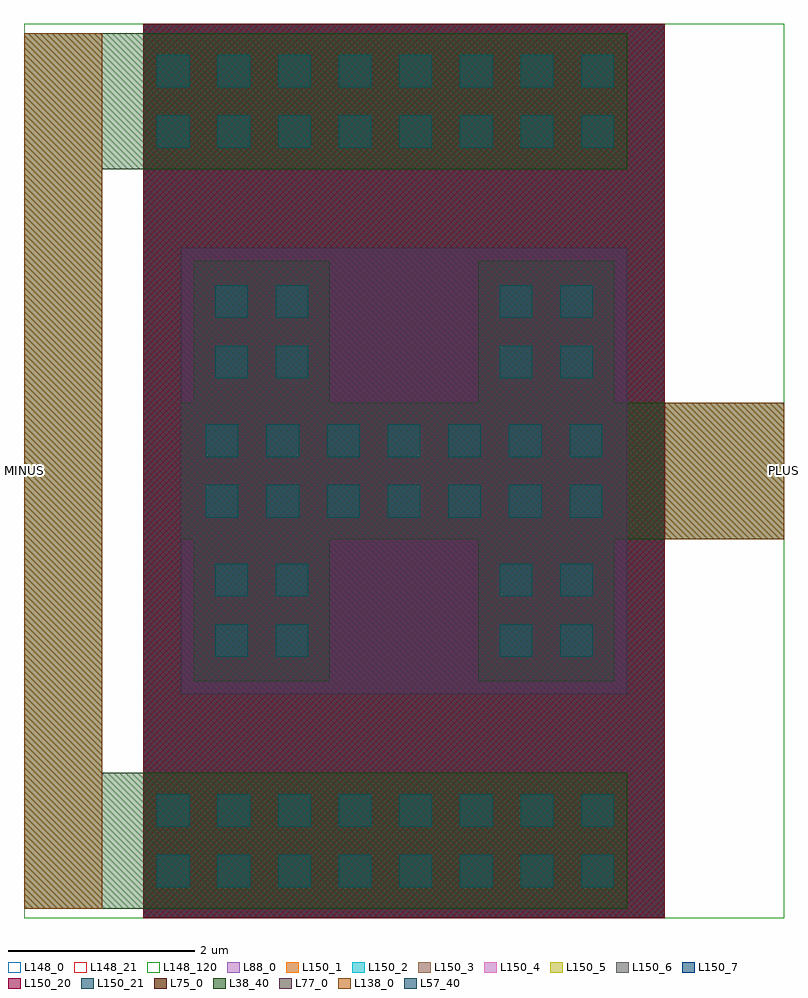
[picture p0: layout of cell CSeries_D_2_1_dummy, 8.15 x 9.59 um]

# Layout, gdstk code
import gdstk
lib = gdstk.Library(unit=1e-6, precision=1e-09)
def R(c, l, rs):  # rectangles x0, y0, x1, y1
    for r in rs: c.add(gdstk.rectangle(r[:2], r[2:], *l))
def A(c, l, x, y, w, h, nx, ny, dx, dy):  # array of equal rectangles
    R(c, l, [(x+i*dx, y+j*dy, x+i*dx+w, y+j*dy+h) for i in range(nx) for j in range(ny)])
L38_40 = (38, 40)
L57_40 = (57, 40)
L75_0 = (75, 0)
L77_0 = (77, 0)
L88_0 = (88, 0)
L138_0 = (138, 0)
L148_0 = (148, 0)
L148_21 = (148, 21)
L148_120 = (148, 120)
L150_1 = (150, 1)
L150_2 = (150, 2)
L150_3 = (150, 3)
L150_4 = (150, 4)
L150_5 = (150, 5)
L150_6 = (150, 6)
L150_7 = (150, 7)
L150_20 = (150, 20)
L150_21 = (150, 21)

cseries_d_2_1_dummy = lib.new_cell('CSeries_D_2_1_dummy')
R(cseries_d_2_1_dummy, L38_40, [(-1.68,-2.3,4.79,-0.84), (-1.68,-0.84,-0.84,5.63), (0.14,0.14,1.6,4.65), (3.19,0.14,4.65,4.65), (0,1.665,6.47,3.125), (-1.68,5.63,4.79,7.09)])
A(cseries_d_2_1_dummy, L57_40, -0.255, -2.07, 0.35, 0.35, 8, 2, 0.65, 0.65)
A(cseries_d_2_1_dummy, L57_40, 0.27, 1.895, 0.35, 0.35, 7, 2, 0.65, 0.65)
A(cseries_d_2_1_dummy, L57_40, -0.255, 5.86, 0.35, 0.35, 8, 2, 0.65, 0.65)
R(cseries_d_2_1_dummy, L57_40, [(0.37,0.402,0.72,0.752), (1.02,0.402,1.37,0.752), (3.42,0.402,3.77,0.752), (4.07,0.402,4.42,0.752), (0.37,1.052,0.72,1.402), (1.02,1.052,1.37,1.402), (3.42,1.052,3.77,1.402), (4.07,1.052,4.42,1.402), (0.37,3.388,0.72,3.738), (1.02,3.388,1.37,3.738), (3.42,3.388,3.77,3.738), (4.07,3.388,4.42,3.738), (0.37,4.037,0.72,4.387), (1.02,4.037,1.37,4.387), (3.42,4.037,3.77,4.387), (4.07,4.037,4.42,4.387)])
R(cseries_d_2_1_dummy, L75_0, [(-0.4,-2.4,5.19,7.19)])
R(cseries_d_2_1_dummy, L77_0, [(0,0,4.79,4.79)])
R(cseries_d_2_1_dummy, L88_0, [(-0.4,-2.4,5.19,7.19)])
R(cseries_d_2_1_dummy, L138_0, [(-1.68,-2.3,-0.84,7.09), (5.19,1.665,6.47,3.125)])
R(cseries_d_2_1_dummy, L148_0, [(-1.68,-2.4,6.47,7.19)])
R(cseries_d_2_1_dummy, L148_21, [(-1.68,-2.4,6.47,7.19)])
R(cseries_d_2_1_dummy, L148_120, [(-1.68,-2.4,6.47,7.19)])
R(cseries_d_2_1_dummy, L150_1, [(-0.4,-2.4,5.19,7.19)])
R(cseries_d_2_1_dummy, L150_2, [(-0.4,-2.4,5.19,7.19)])
R(cseries_d_2_1_dummy, L150_3, [(-0.4,-2.4,5.19,7.19)])
R(cseries_d_2_1_dummy, L150_4, [(-0.4,-2.4,5.19,7.19)])
R(cseries_d_2_1_dummy, L150_5, [(-0.4,-2.4,5.19,7.19)])
R(cseries_d_2_1_dummy, L150_6, [(-0.4,-2.4,5.19,7.19)])
R(cseries_d_2_1_dummy, L150_7, [(-0.4,-2.4,5.19,7.19)])
R(cseries_d_2_1_dummy, L150_20, [(-0.4,-2.4,5.19,7.19)])
R(cseries_d_2_1_dummy, L150_21, [(-0.4,-2.4,5.19,7.19)])
cseries_d_2_1_dummy.add(gdstk.Label('MINUS', (-1.68,2.395), layer=138, texttype=0))
cseries_d_2_1_dummy.add(gdstk.Label('PLUS', (6.47,2.395), layer=138, texttype=0))

lib.write_gds('CSeries_D_2_1_dummy.gds')
